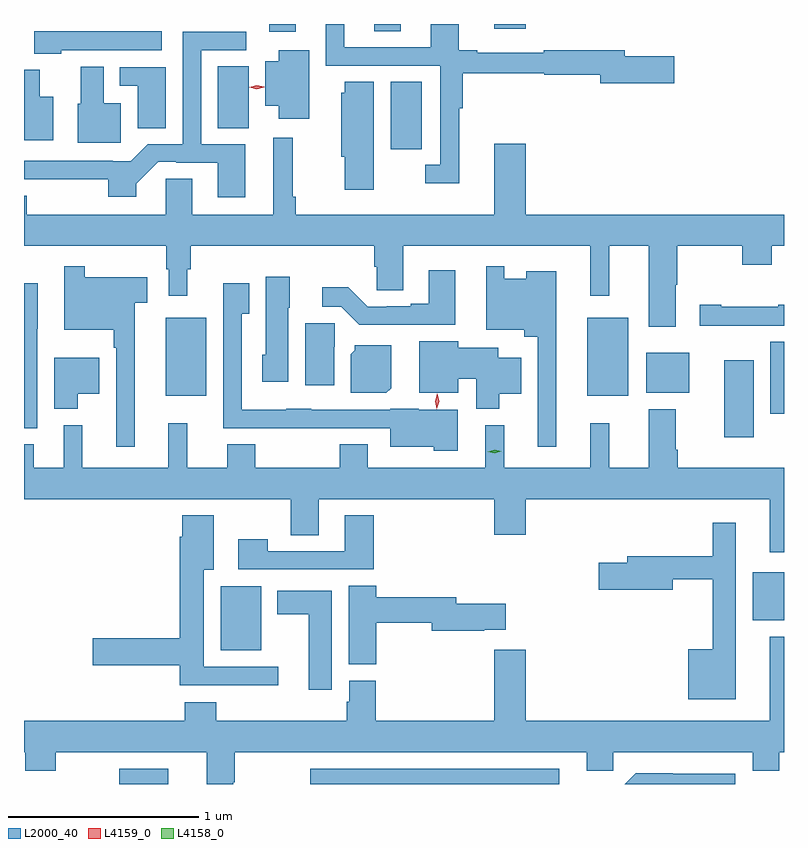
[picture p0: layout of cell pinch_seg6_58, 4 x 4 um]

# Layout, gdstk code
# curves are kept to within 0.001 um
import gdstk
lib = gdstk.Library(unit=1e-6, precision=1e-09)
def R(c, l, rs):  # rectangles x0, y0, x1, y1
    for r in rs: c.add(gdstk.rectangle(r[:2], r[2:], *l))
def P(c, l, *ps):  # polygons
    for p in ps: c.add(gdstk.Polygon(p, *l))
L2000_40 = (2000, 40)
L4158_0 = (4158, 0)
L4159_0 = (4159, 0)

pinch_seg6_58 = lib.new_cell('pinch_seg6_58')
R(pinch_seg6_58, L2000_40, [(1002.192,945.836,1002.45,945.916), (1003.198,945.836,1004.509,945.915), (1002.728,946.541,1002.94,946.876), (1005.527,946.697,1005.692,946.951), (1005.377,947.661,1005.532,948.067), (1005.62,947.784,1005.692,948.164), (1002.437,947.879,1002.652,948.289), (1004.657,947.879,1004.872,948.289), (1004.966,947.894,1005.193,948.106), (1003.622,949.176,1003.786,949.532), (1002.713,949.288,1002.874,949.613), (1002.983,949.794,1003.123,949.836), (1003.535,949.798,1003.675,949.836), (1004.168,949.812,1004.332,949.836)])
P(pinch_seg6_58, L2000_40, [(1003.982,949.393),(1004,949.393),(1004,949.578),(1004.43,949.578),(1004.43,949.57),(1004.726,949.57),(1004.726,949.523),(1005.115,949.523),(1005.115,949.665),(1004.854,949.665),(1004.854,949.699),(1004.428,949.699),(1004.428,949.686),(1004.077,949.686),(1004.077,949.699),(1003.981,949.699),(1003.981,949.836),(1003.832,949.836),(1003.832,949.713),(1003.378,949.713),(1003.378,949.836),(1003.28,949.836),(1003.28,949.617),(1003.884,949.617),(1003.884,949.095),(1003.803,949.095),(1003.803,948.998),(1003.982,948.998)],
  [(1001.889,949.697),(1002.418,949.697),(1002.418,949.798),(1001.745,949.798),(1001.745,949.679),(1001.889,949.679)],
  [(1002.856,949.203),(1002.624,949.203),(1002.624,949.698),(1002.862,949.698),(1002.862,949.796),(1002.528,949.796),(1002.528,949.203),(1002.344,949.203),(1002.254,949.113),(1002.158,949.113),(1002.158,949.116),(1001.692,949.116),(1001.692,949.02),(1002.136,949.019),(1002.136,948.926),(1002.283,948.926),(1002.283,948.994),(1002.399,949.11),(1002.493,949.11),(1002.493,949.107),(1002.713,949.107),(1002.713,948.924),(1002.856,948.924)],
  [(1003.192,949.699),(1003.034,949.699),(1003.034,949.639),(1002.962,949.639),(1002.962,949.406),(1003.034,949.406),(1003.034,949.338),(1003.192,949.338)],
  [(1002.202,949.42),(1002.112,949.42),(1002.112,949.612),(1001.99,949.612),(1001.99,949.416),(1001.975,949.416),(1001.975,949.211),(1002.202,949.211)],
  [(1002.439,949.608),(1002.197,949.608),(1002.197,949.512),(1002.29,949.512),(1002.29,949.288),(1002.439,949.288)],
  [(1001.845,949.453),(1001.776,949.453),(1001.776,949.594),(1001.692,949.594),(1001.692,949.223),(1001.845,949.223)],
  [(1003.534,949.532),(1003.379,949.532),(1003.379,949.473),(1003.361,949.473),(1003.361,949.137),(1003.379,949.137),(1003.379,948.963),(1003.534,948.963)],
  [(1005.121,948.464),(1005.129,948.464),(1005.129,948.668),(1005.472,948.668),(1005.472,948.569),(1005.627,948.569),(1005.627,948.668),(1005.692,948.668),(1005.692,948.832),(1004.332,948.832),(1004.332,949.207),(1004.168,949.207),(1004.168,948.832),(1003.121,948.832),(1003.121,948.928),(1003.106,948.928),(1003.106,949.237),(1003.004,949.237),(1003.004,948.832),(1002.577,948.832),(1002.577,949.022),(1002.438,949.022),(1002.438,948.832),(1001.706,948.832),(1001.706,948.931),(1001.692,948.931),(1001.692,948.668),(1002.441,948.668),(1002.441,948.545),(1002.453,948.545),(1002.453,948.405),(1002.551,948.405),(1002.551,948.545),(1002.569,948.545),(1002.569,948.668),(1003.535,948.668),(1003.535,948.558),(1003.548,948.558),(1003.548,948.436),(1003.687,948.436),(1003.687,948.668),(1004.672,948.668),(1004.672,948.405),(1004.771,948.405),(1004.771,948.668),(1004.981,948.668),(1004.981,948.243),(1005.121,948.243)],
  [(1004.494,948.535),(1004.336,948.535),(1004.336,948.496),(1004.22,948.496),(1004.22,948.562),(1004.124,948.562),(1004.124,948.227),(1004.324,948.227),(1004.324,948.191),(1004.397,948.191),(1004.397,947.61),(1004.494,947.61)],
  [(1002.274,948.368),(1002.34,948.368),(1002.34,948.502),(1002.013,948.502),(1002.013,948.562),(1001.904,948.562),(1001.904,948.227),(1002.165,948.227),(1002.165,948.131),(1002.177,948.131),(1002.177,947.61),(1002.274,947.61)],
  [(1003.963,948.541),(1003.823,948.541),(1003.823,948.364),(1003.727,948.364),(1003.727,948.351),(1003.6,948.351),(1003.6,948.348),(1003.5,948.348),(1003.398,948.451),(1003.263,948.451),(1003.263,948.348),(1003.362,948.348),(1003.456,948.254),(1003.963,948.254)],
  [(1003.084,948.342),(1003.09,948.342),(1003.09,948.505),(1002.965,948.505),(1002.965,948.096),(1002.947,948.096),(1002.947,947.952),(1003.084,947.952)],
  [(1003.975,947.806),(1003.77,947.806),(1003.77,947.812),(1003.62,947.812),(1003.62,947.805),(1003.203,947.805),(1003.203,947.812),(1003.071,947.812),(1003.071,947.806),(1002.837,947.806),(1002.837,948.311),(1002.877,948.311),(1002.877,948.472),(1002.741,948.472),(1002.741,947.709),(1002.971,947.709),(1002.971,947.708),(1003.203,947.708),(1003.203,947.709),(1003.62,947.709),(1003.62,947.612),(1003.848,947.612),(1003.848,947.591),(1003.975,947.591)],
  [(1001.763,948.231),(1001.764,948.231),(1001.764,948.472),(1001.692,948.472),(1001.692,947.709),(1001.763,947.709)],
  [(1005.524,948.249),(1005.692,948.249),(1005.692,948.358),(1005.661,948.358),(1005.661,948.348),(1005.361,948.348),(1005.361,948.358),(1005.249,948.358),(1005.249,948.248),(1005.524,948.248)],
  [(1003.324,948.138),(1003.328,948.138),(1003.328,948.261),(1003.172,948.261),(1003.172,947.934),(1003.324,947.934)],
  [(1004.194,947.891),(1004.308,947.891),(1004.308,948.079),(1004.188,948.079),(1004.188,948.133),(1003.978,948.133),(1003.978,948.166),(1003.772,948.166),(1003.772,947.894),(1003.978,947.894),(1003.978,947.969),(1004.072,947.969),(1004.072,947.81),(1004.194,947.81)],
  [(1003.624,947.92),(1003.624,948.145),(1003.434,948.145),(1003.434,948.12),(1003.412,948.098),(1003.412,947.894),(1003.598,947.894)],
  [(1001.974,947.891),(1002.088,947.891),(1002.088,948.079),(1001.852,948.079),(1001.852,947.81),(1001.974,947.81)],
  [(1005.692,947.5),(1005.134,947.5),(1005.134,947.596),(1005.121,947.596),(1005.121,947.809),(1004.981,947.809),(1004.981,947.5),(1004.771,947.5),(1004.771,947.734),(1004.672,947.734),(1004.672,947.5),(1004.219,947.5),(1004.219,947.725),(1004.12,947.725),(1004.12,947.5),(1003.501,947.5),(1003.501,947.624),(1003.354,947.624),(1003.354,947.5),(1002.909,947.5),(1002.909,947.624),(1002.761,947.624),(1002.761,947.5),(1002.551,947.5),(1002.551,947.734),(1002.452,947.734),(1002.452,947.5),(1001.999,947.5),(1001.999,947.725),(1001.9,947.725),(1001.9,947.5),(1001.743,947.5),(1001.743,947.624),(1001.692,947.624),(1001.692,947.336),(1003.096,947.336),(1003.096,947.146),(1003.243,947.146),(1003.243,947.336),(1004.168,947.336),(1004.168,947.148),(1004.332,947.148),(1004.332,947.336),(1005.617,947.336),(1005.617,947.055),(1005.692,947.055)],
  [(1003.532,947.251),(1003.379,947.251),(1003.379,947.061),(1002.975,947.061),(1002.975,947.125),(1002.819,947.125),(1002.819,946.965),(1003.532,946.965)],
  [(1003.03,946.452),(1002.637,946.452),(1002.637,946.964),(1002.691,946.964),(1002.691,947.251),(1002.524,947.251),(1002.524,947.138),(1002.512,947.138),(1002.512,946.604),(1002.054,946.604),(1002.054,946.462),(1002.512,946.462),(1002.512,946.355),(1003.03,946.355)],
  [(1005.439,947.212),(1005.318,947.212),(1005.318,947.035),(1004.867,947.035),(1004.867,947.001),(1004.718,947.001),(1004.718,946.859),(1005.106,946.859),(1005.106,946.914),(1005.318,946.914),(1005.318,946.546),(1005.188,946.546),(1005.188,946.283),(1005.439,946.283)],
  [(1003.547,946.684),(1003.838,946.684),(1003.838,946.642),(1004.114,946.642),(1004.114,946.649),(1004.227,946.649),(1004.227,946.784),(1003.966,946.784),(1003.966,946.82),(1003.547,946.82),(1003.547,946.88),(1003.4,946.88),(1003.4,946.465),(1003.547,946.465)],
  [(1003.312,946.852),(1003.025,946.852),(1003.025,946.73),(1003.19,946.73),(1003.19,946.332),(1003.312,946.332)],
  [(1002.793,945.844),(1002.801,945.844),(1002.801,946.004),(1004.654,946.004),(1004.654,945.906),(1004.793,945.906),(1004.793,946.004),(1005.527,946.004),(1005.527,945.905),(1005.667,945.905),(1005.667,946.004),(1005.692,946.004),(1005.692,946.612),(1005.617,946.612),(1005.617,946.168),(1004.332,946.168),(1004.332,946.543),(1004.168,946.543),(1004.168,946.168),(1003.544,946.168),(1003.544,946.38),(1003.403,946.38),(1003.403,946.269),(1003.391,946.269),(1003.391,946.168),(1002.704,946.168),(1002.704,946.267),(1002.539,946.267),(1002.539,946.168),(1001.692,946.168),(1001.692,946.004),(1001.699,946.004),(1001.699,945.905),(1001.859,945.905),(1001.859,946.004),(1002.653,946.004),(1002.653,945.836),(1002.793,945.836)],
  [(1005.436,945.891),(1005.107,945.891),(1005.107,945.892),(1004.911,945.892),(1004.855,945.836),(1005.436,945.836)])
P(pinch_seg6_58, L4158_0, [(1004.169,947.576),(1004.133,947.585),(1004.133,947.585),(1004.133,947.586),(1004.169,947.596),(1004.205,947.588),(1004.205,947.587),(1004.205,947.587)])
P(pinch_seg6_58, L4159_0, [(1002.917,949.493),(1002.877,949.502),(1002.877,949.502),(1002.877,949.502),(1002.917,949.513),(1002.957,949.505),(1002.957,949.504),(1002.957,949.504)],
  [(1003.865,947.809),(1003.865,947.81),(1003.857,947.85),(1003.868,947.89),(1003.868,947.891),(1003.868,947.89),(1003.877,947.85),(1003.865,947.81)])

lib.write_gds('pinch_seg6_58.gds')
